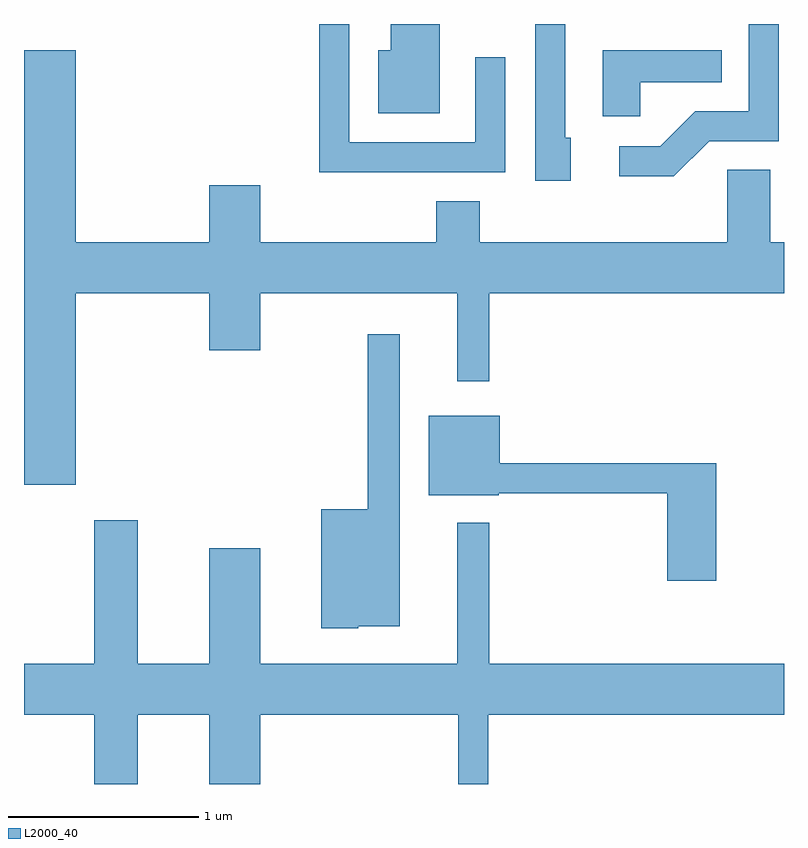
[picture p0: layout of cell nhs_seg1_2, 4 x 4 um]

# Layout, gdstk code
import gdstk
lib = gdstk.Library(unit=1e-6, precision=1e-09)
def P(c, l, *ps):  # polygons
    for p in ps: c.add(gdstk.Polygon(p, *l))
L2000_40 = (2000, 40)

nhs_seg1_2 = lib.new_cell('nhs_seg1_2')
P(nhs_seg1_2, L2000_40, [(187.799,847.712),(187.541,847.712),(187.541,847.574),(187.476,847.574),(187.476,847.241),(187.799,847.241)],
  [(188.144,847.538),(187.986,847.538),(187.986,847.089),(187.324,847.089),(187.324,847.712),(187.166,847.712),(187.166,846.931),(188.144,846.931)],
  [(188.489,847.114),(188.459,847.114),(188.459,847.712),(188.301,847.712),(188.301,846.886),(188.489,846.886)],
  [(189.217,847.096),(189.584,847.096),(189.584,847.712),(189.426,847.712),(189.426,847.254),(189.144,847.254),(188.959,847.069),(188.743,847.069),(188.743,846.911),(189.032,846.911)],
  [(185.884,846.296),(186.586,846.296),(186.586,845.996),(186.854,845.996),(186.854,846.296),(187.891,846.296),(187.891,845.833),(188.059,845.833),(188.059,846.296),(189.611,846.296),(189.611,846.564),(189.539,846.564),(189.539,846.944),(189.311,846.944),(189.311,846.564),(188.009,846.564),(188.009,846.779),(187.781,846.779),(187.781,846.564),(186.854,846.564),(186.854,846.864),(186.586,846.864),(186.586,846.564),(185.884,846.564),(185.884,847.574),(185.611,847.574),(185.611,845.286),(185.884,845.286)],
  [(188.854,847.406),(189.283,847.406),(189.283,847.574),(188.656,847.574),(188.656,847.226),(188.854,847.226)],
  [(187.37,844.541),(187.589,844.541),(187.589,846.078),(187.421,846.078),(187.421,845.159),(187.176,845.159),(187.176,844.531),(187.37,844.531)],
  [(189.254,845.399),(188.114,845.399),(188.114,845.649),(187.741,845.649),(187.741,845.231),(188.11,845.231),(188.11,845.241),(188.996,845.241),(188.996,844.781),(189.254,844.781)],
  [(186.209,844.076),(186.586,844.076),(186.586,843.712),(186.854,843.712),(186.854,844.076),(187.896,844.076),(187.896,843.712),(188.054,843.712),(188.054,844.076),(189.611,844.076),(189.611,844.344),(188.059,844.344),(188.059,845.088),(187.891,845.088),(187.891,844.344),(186.854,844.344),(186.854,844.954),(186.586,844.954),(186.586,844.344),(186.209,844.344),(186.209,845.099),(185.981,845.099),(185.981,844.344),(185.611,844.344),(185.611,844.076),(185.981,844.076),(185.981,843.712),(186.209,843.712)])

lib.write_gds('nhs_seg1_2.gds')
